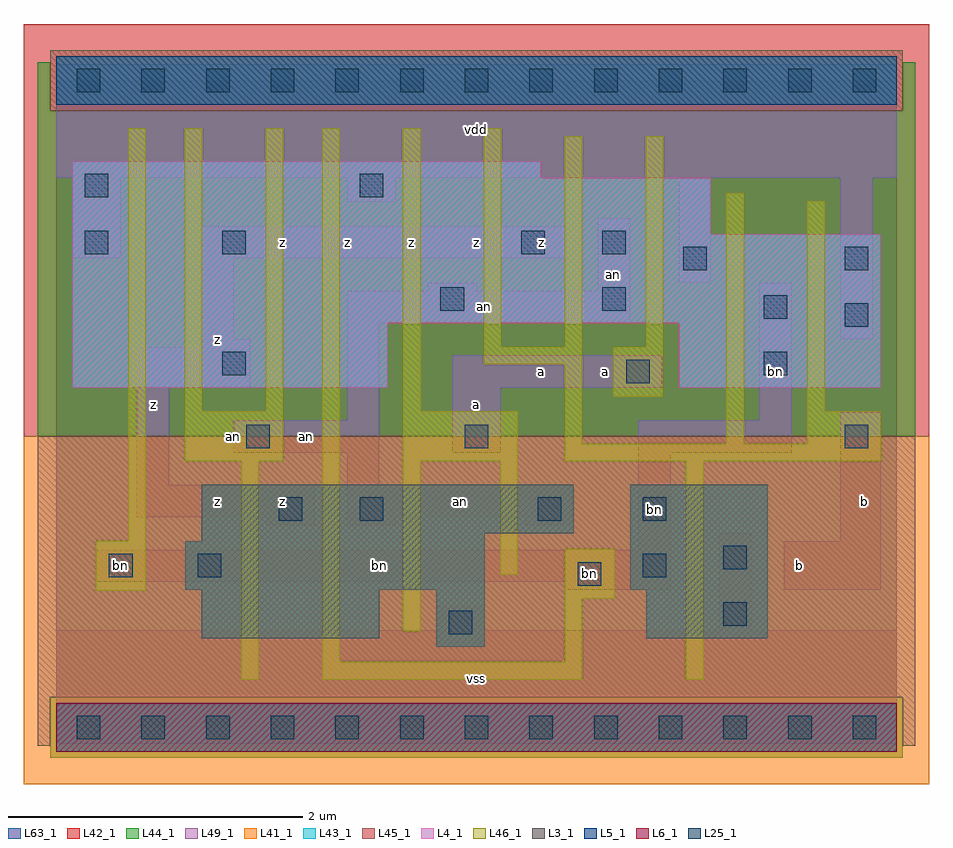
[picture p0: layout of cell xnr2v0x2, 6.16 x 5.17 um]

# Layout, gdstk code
import gdstk
lib = gdstk.Library(unit=1e-6, precision=1e-09)
def R(c, l, rs):  # rectangles x0, y0, x1, y1
    for r in rs: c.add(gdstk.rectangle(r[:2], r[2:], *l))
def A(c, l, x, y, w, h, nx, ny, dx, dy):  # array of equal rectangles
    R(c, l, [(x+i*dx, y+j*dy, x+i*dx+w, y+j*dy+h) for i in range(nx) for j in range(ny)])
L3_1 = (3, 1)
L4_1 = (4, 1)
L5_1 = (5, 1)
L6_1 = (6, 1)
L25_1 = (25, 1)
L41_1 = (41, 1)
L42_1 = (42, 1)
L43_1 = (43, 1)
L44_1 = (44, 1)
L45_1 = (45, 1)
L46_1 = (46, 1)
L49_1 = (49, 1)
L63_1 = (63, 1)

xnr2v0x2 = lib.new_cell('xnr2v0x2')
R(xnr2v0x2, L3_1, [(2.585,0.55,2.915,0.935), (0.99,0.605,2.2,0.935), (4.015,0.605,4.84,0.935), (0.88,0.935,2.915,1.265), (3.905,0.935,4.84,1.65), (0.99,1.265,2.915,1.32), (0.99,1.32,3.52,1.65)])
R(xnr2v0x2, L4_1, [(0.11,2.31,2.255,2.75), (4.235,2.31,5.61,2.75), (0.11,2.75,5.61,3.355), (0.11,3.355,4.455,3.74), (0.11,3.74,3.3,3.85)])
R(xnr2v0x2, L5_1, [(0,4.235,5.72,4.565)])
R(xnr2v0x2, L6_1, [(0,-0.165,5.72,0.165)])
A(xnr2v0x2, L25_1, 0.14, -0.08, 0.16, 0.16, 13, 2, 0.44, 4.4)
R(xnr2v0x2, L25_1, [(2.67,0.635,2.83,0.795), (4.54,0.69,4.7,0.85), (3.55,0.965,3.71,1.125), (0.36,1.02,0.52,1.18), (0.965,1.02,1.125,1.18), (3.99,1.02,4.15,1.18), (4.54,1.075,4.7,1.235), (1.515,1.405,1.675,1.565), (2.065,1.405,2.225,1.565), (3.275,1.405,3.435,1.565), (3.99,1.405,4.15,1.565), (1.295,1.9,1.455,2.06), (2.78,1.9,2.94,2.06), (5.365,1.9,5.525,2.06), (3.88,2.34,4.04,2.5), (1.13,2.395,1.29,2.555), (4.815,2.395,4.975,2.555), (5.365,2.725,5.525,2.885), (4.815,2.78,4.975,2.94), (2.615,2.835,2.775,2.995), (3.715,2.835,3.875,2.995), (4.265,3.11,4.425,3.27), (5.365,3.11,5.525,3.27), (0.195,3.22,0.355,3.38), (1.13,3.22,1.29,3.38), (3.165,3.22,3.325,3.38), (3.715,3.22,3.875,3.38), (0.195,3.605,0.355,3.765), (2.065,3.605,2.225,3.765)])
R(xnr2v0x2, L41_1, [(-0.22,-0.385,5.94,1.98)])
R(xnr2v0x2, L42_1, [(-0.22,1.98,5.94,4.785)])
R(xnr2v0x2, L43_1, [(0,-0.165,5.72,0.165), (2.585,0.55,2.915,0.935), (0.99,0.605,2.2,0.935), (4.015,0.605,4.84,0.935), (0.88,0.935,2.915,1.265), (3.905,0.935,4.84,1.65), (0.99,1.265,2.915,1.32), (0.99,1.32,3.52,1.65), (0.11,2.31,2.255,2.75), (4.235,2.31,5.61,2.75), (0.11,2.75,5.61,3.355), (0.11,3.355,4.455,3.74), (0.11,3.74,3.3,3.85), (0,4.235,5.72,4.565)])
R(xnr2v0x2, L44_1, [(-0.04,-0.205,5.76,0.205), (-0.125,1.98,5.845,4.195), (-0.125,4.195,-0.04,4.525), (5.76,4.195,5.845,4.525)])
R(xnr2v0x2, L45_1, [(-0.125,-0.125,-0.04,0.205), (5.76,-0.125,5.845,0.205), (-0.125,0.205,5.845,1.98), (-0.04,4.195,5.76,4.605)])
R(xnr2v0x2, L46_1, [(1.26,0.325,1.38,1.81), (1.81,0.325,3.58,0.445), (4.285,0.325,4.405,1.81), (1.81,0.445,1.93,4.075), (3.46,0.445,3.58,0.875), (2.36,0.655,2.48,1.81), (3.46,0.875,3.8,1.215), (0.27,0.93,0.61,1.27), (3.02,1.04,3.14,1.81), (0.49,1.27,0.61,4.075), (0.875,1.81,1.545,2.15), (2.36,1.81,3.14,2.15), (3.46,1.81,5.615,1.93), (3.46,1.93,3.58,2.47), (4.56,1.93,4.68,3.635), (5.11,1.93,5.615,2.15), (0.875,2.15,0.995,4.075), (1.425,2.15,1.545,4.075), (2.36,2.15,2.48,4.075), (5.11,2.15,5.23,3.58), (3.79,2.25,4.13,2.59), (2.91,2.47,3.58,2.59), (2.91,2.59,3.03,4.075), (3.46,2.59,3.58,4.02), (4.01,2.59,4.13,4.02)])
R(xnr2v0x2, L49_1, [(0,-0.11,5.72,0.66), (2.585,0.66,2.915,0.825), (4.51,0.66,4.73,1.32), (3.465,0.935,4.18,0.99), (4.95,0.935,5.61,1.265), (0.275,0.99,4.18,1.21), (3.96,1.21,4.18,1.87), (5.335,1.265,5.61,2.145), (1.43,1.375,1.76,1.43), (1.98,1.375,2.31,1.43), (3.19,1.375,3.52,1.43), (0.55,1.43,1.76,1.65), (1.98,1.43,3.52,1.65), (0.55,1.65,0.77,2.31), (1.98,1.65,2.2,1.87), (1.21,1.87,2.2,2.09), (2.695,1.87,3.025,2.31), (3.96,1.87,5.005,2.09), (1.98,2.09,2.2,2.75), (4.785,2.09,5.005,3.025), (0.55,2.31,1.32,2.585), (2.695,2.31,4.125,2.53), (0.99,2.585,1.32,2.64), (0.99,2.64,1.21,3.19), (5.335,2.64,5.555,3.74), (1.98,2.75,3.905,2.97), (2.53,2.97,2.86,3.025), (3.685,2.97,3.905,3.465), (4.235,3.025,4.455,3.74), (0.11,3.19,0.44,3.74), (0.99,3.19,3.465,3.41), (1.98,3.575,2.31,3.74), (0,3.74,5.72,4.51)])
R(xnr2v0x2, L63_1, [(0,0,5.72,4.4)])
xnr2v0x2.add(gdstk.Label('bn', (0.44,1.1), layer=49, texttype=1))
xnr2v0x2.add(gdstk.Label('an', (1.21,1.98), layer=46, texttype=1))
xnr2v0x2.add(gdstk.Label('bn', (3.63,1.045), layer=49, texttype=1))
xnr2v0x2.add(gdstk.Label('z', (0.66,2.2), layer=49, texttype=1))
xnr2v0x2.add(gdstk.Label('z', (1.1,1.54), layer=49, texttype=1))
xnr2v0x2.add(gdstk.Label('z', (1.54,1.54), layer=49, texttype=1))
xnr2v0x2.add(gdstk.Label('an', (1.705,1.98), layer=49, texttype=1))
xnr2v0x2.add(gdstk.Label('z', (1.1,2.64), layer=49, texttype=1))
xnr2v0x2.add(gdstk.Label('z', (1.54,3.3), layer=49, texttype=1))
xnr2v0x2.add(gdstk.Label('z', (1.98,3.3), layer=49, texttype=1))
xnr2v0x2.add(gdstk.Label('vss', (2.86,0.33), layer=49, texttype=1))
xnr2v0x2.add(gdstk.Label('a', (2.86,2.2), layer=49, texttype=1))
xnr2v0x2.add(gdstk.Label('a', (3.3,2.42), layer=49, texttype=1))
xnr2v0x2.add(gdstk.Label('z', (2.42,3.3), layer=49, texttype=1))
xnr2v0x2.add(gdstk.Label('z', (2.86,3.3), layer=49, texttype=1))
xnr2v0x2.add(gdstk.Label('z', (3.3,3.3), layer=49, texttype=1))
xnr2v0x2.add(gdstk.Label('vdd', (2.86,4.07), layer=49, texttype=1))
xnr2v0x2.add(gdstk.Label('bn', (2.2,1.1), layer=49, texttype=1))
xnr2v0x2.add(gdstk.Label('an', (2.75,1.54), layer=49, texttype=1))
xnr2v0x2.add(gdstk.Label('bn', (4.07,1.485), layer=49, texttype=1))
xnr2v0x2.add(gdstk.Label('a', (3.74,2.42), layer=49, texttype=1))
xnr2v0x2.add(gdstk.Label('an', (3.795,3.08), layer=49, texttype=1))
xnr2v0x2.add(gdstk.Label('an', (2.915,2.86), layer=49, texttype=1))
xnr2v0x2.add(gdstk.Label('b', (5.06,1.1), layer=49, texttype=1))
xnr2v0x2.add(gdstk.Label('b', (5.5,1.54), layer=49, texttype=1))
xnr2v0x2.add(gdstk.Label('bn', (4.895,2.42), layer=49, texttype=1))

lib.write_gds('xnr2v0x2.gds')
